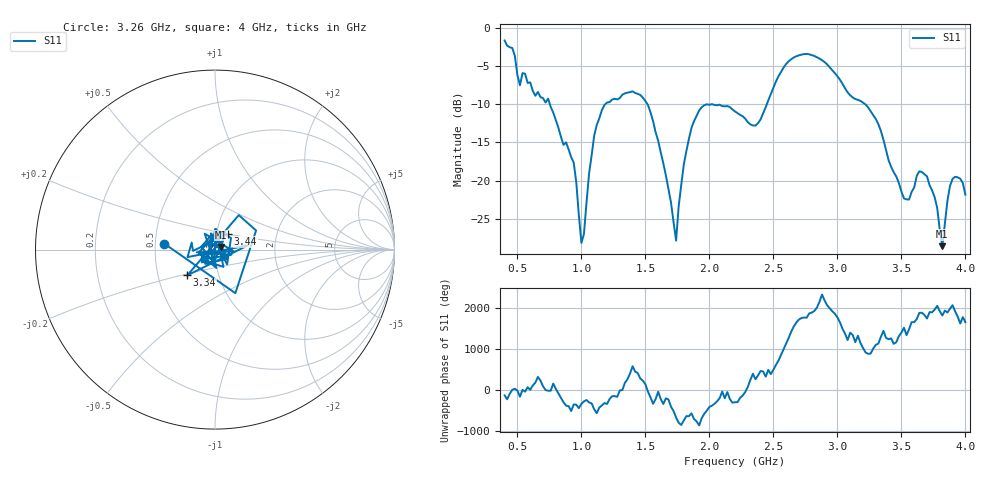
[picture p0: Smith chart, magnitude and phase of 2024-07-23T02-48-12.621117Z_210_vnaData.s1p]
!Created with skrf (http://scikit-rf.org).
# Hz S RI R 50.0
!freq ReS11 ImS11
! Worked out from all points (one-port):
!   181 points, 400 MHz to 4 GHz, reference 50 ohm
!   lowest |S11| = -28.6 dB at 3.82 GHz (marker M1), VSWR 1.08, Z = 53.5 + j1.54 ohm
!   |S11| at or under -10 dB: 753.3 MHz to 1.187 GHz (434.1 MHz wide, 44.7 % of centre); 1.515 GHz to 2.449 GHz (933.7 MHz wide, 47.1 % of centre); 3.216 GHz to end of sweep
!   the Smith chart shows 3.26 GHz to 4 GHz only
!   S11 on the Smith chart (normalised r, x): 3.26 GHz: 0.56, +0.04; 3.34 GHz: 0.71, -0.21; 3.44 GHz: 1.14, +0.20; 4 GHz: 0.88, -0.10
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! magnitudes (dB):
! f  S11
! 400 MHz  -1.7
! 520 MHz  -7.5
! 740 MHz  -9.3
! 860 MHz  -15.3
! 940 MHz  -17.7
! 1 GHz  -28.2
! 1.12 GHz  -12.7
! 1.3 GHz  -9.2
! 1.52 GHz  -10.1
! 1.66 GHz  -19.3
! 1.74 GHz  -27.9
! 1.76 GHz  -23.4
! 1.84 GHz  -14.6
! 1.92 GHz  -10.8
! 2.2 GHz  -11.0
! 2.36 GHz  -12.8
! 2.66 GHz  -3.9
! 2.88 GHz  -4.3
! 3.1 GHz  -8.9
! 3.26 GHz  -11.0
! 3.34 GHz  -13.5
! 3.44 GHz  -18.9
! 3.56 GHz  -22.5
! 3.64 GHz  -18.8
! 3.7 GHz  -19.5
! 3.82 GHz  -28.6
! 3.9 GHz  -19.8
! 4 GHz  -21.9
